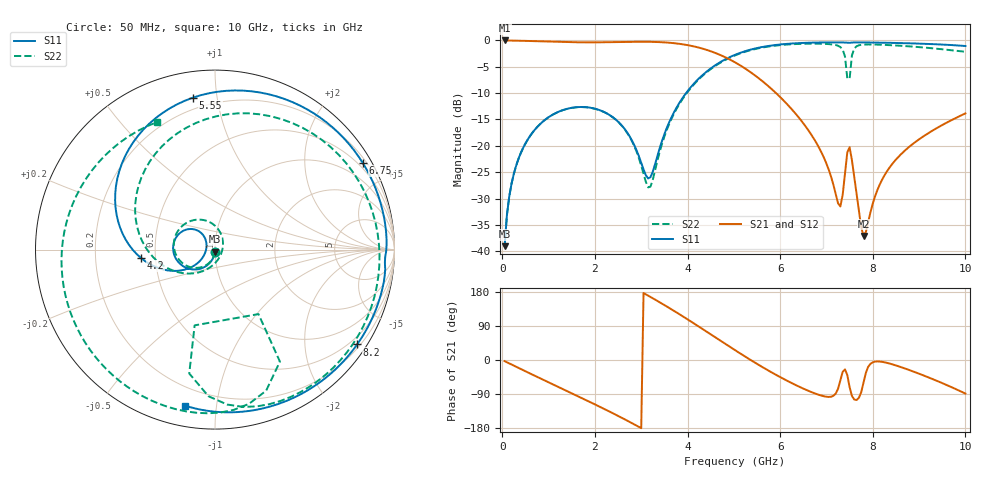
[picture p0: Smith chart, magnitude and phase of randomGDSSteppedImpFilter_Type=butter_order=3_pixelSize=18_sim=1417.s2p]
! freq	dB(S11)	phase(S11)	dB(S12)	phase(S12)
!  dB(S21)	phase(S21)	dB(S22)	phase(S22)
!S-par simulation data
#  GHz  S  DB  R 50
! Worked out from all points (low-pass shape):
!   200 points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, 50 MHz to 10 GHz, reference 50 ohm
!   highest |S21| = -0.01 dB at 50 MHz (marker M1); lowest = -37.1 dB at 7.8 GHz (marker M2)
!   |S21| within 3 dB of the highest: start of sweep to 4.769 GHz
!   lowest |S11| = -39.0 dB at 50 MHz (marker M3), VSWR 1.02, Z = 50 - j1.12 ohm
!   |S11| at or under -10 dB: start of sweep to 3.968 GHz
!   |S22| runs from -39.0 to -0.6 dB; largest |S21 - S12| = 0
!   S11 on the Smith chart (normalised r, x): 50 MHz: 1.00, -0.02; 4.2 GHz: 0.41, -0.05; 5.55 GHz: 0.14, +0.86; 6.75 GHz: 0.34, +3.65; 8.2 GHz: 0.29, -3.28; 10 GHz: 0.10, -0.82
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0.05  -39.03 -91.8  -0.01 -3.0  -0.01 -3.0  -39.03 -92.1
0.2  -27.16 -101.4  -0.03 -12.0  -0.03 -12.0  -27.16 -102.6
0.5  -19.55 -118.8  -0.09 -29.7  -0.09 -29.7  -19.55 -121.6
1.75  -12.63 173.7  -0.36 -102.4  -0.36 -102.4  -12.64 160.3
2.6  -16.34 133.9  -0.29 -153.8  -0.29 -153.8  -16.39 98.9
3.15  -26.19 168.0  -0.26 169.9  -0.26 169.9  -27.88 -6.4
3.4  -20.41 -144.3  -0.32 152.3  -0.32 152.3  -21.10 -98.0
4.2  -7.61 -173.7  -1.27 91.7  -1.27 91.7  -7.76 173.2
5.05  -2.64 130.6  -4.28 24.1  -4.28 24.1  -2.76 94.1
5.55  -1.35 98.3  -7.26 -13.9  -7.26 -13.9  -1.46 50.0
6.1  -0.68 65.3  -11.63 -51.6  -11.63 -51.6  -0.81 5.6
6.7  -0.42 33.0  -18.25 -85.9  -18.25 -85.9  -0.62 -38.0
6.75  -0.41 30.4  -18.96 -88.2  -18.96 -88.2  -0.62 -41.5
7.3  -0.38 4.0  -31.50 -53.7  -31.50 -53.7  -1.25 -85.5
7.45  -0.46 -2.7  -21.22 -39.8  -21.22 -39.8  -7.19 -105.0
7.5  -0.45 -4.4  -20.26 -71.7  -20.26 -71.7  -7.27 -56.0
7.6  -0.38 -8.7  -25.94 -104.3  -25.94 -104.3  -1.55 -70.1
7.8  -0.38 -17.4  -37.10 -59.7  -37.10 -59.7  -0.79 -92.4
8.2  -0.43 -33.7  -26.45 -4.8  -26.45 -4.8  -0.83 -119.6
8.35  -0.45 -39.6  -24.27 -8.9  -24.27 -8.9  -0.89 -128.8
9.2  -0.67 -71.3  -17.59 -45.7  -17.59 -45.7  -1.42 176.8
10  -1.06 -101.0  -13.84 -88.5  -13.84 -88.5  -2.15 114.5
